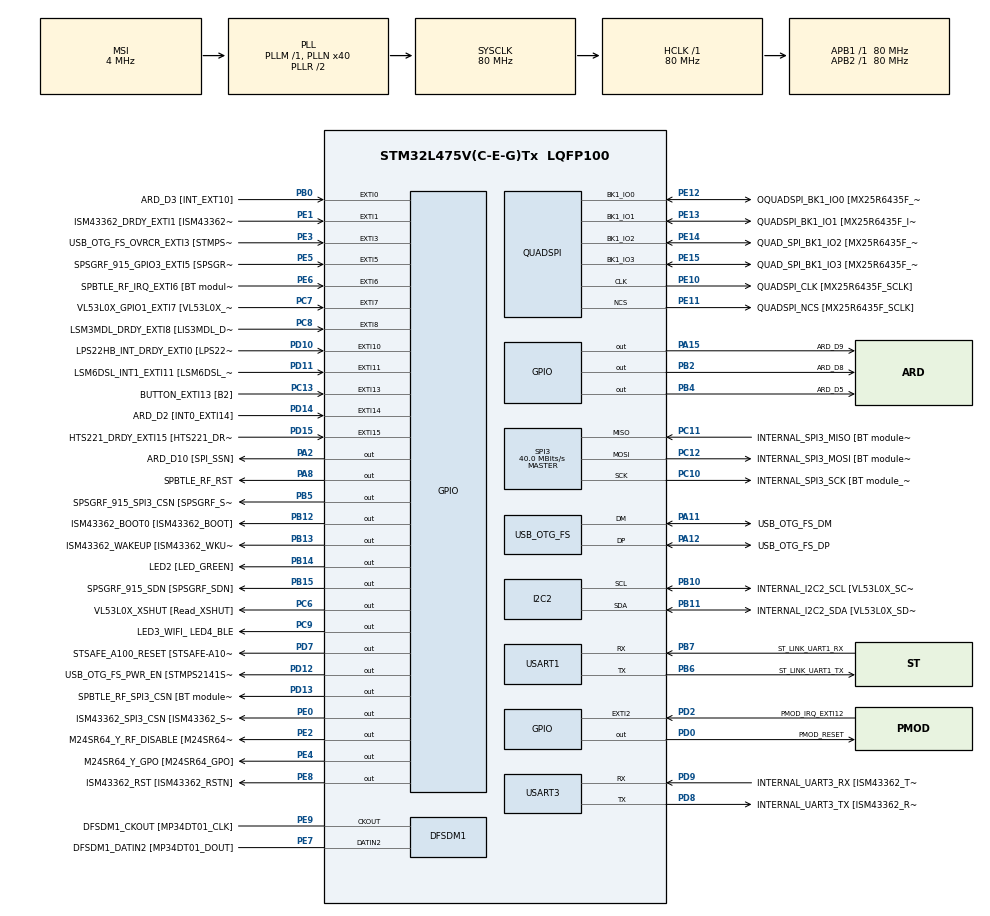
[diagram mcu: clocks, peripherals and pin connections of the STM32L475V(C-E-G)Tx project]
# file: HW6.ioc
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ADC1.Channel-0\#ChannelRegularConversion=ADC_CHANNEL_TEMPSENSOR
ADC1.ClockPrescaler=ADC_CLOCK_SYNC_PCLK_DIV4
ADC1.ExternalTrigConv=ADC_EXTERNALTRIG_T1_TRGO
ADC1.NbrOfConversionFlag=1
ADC1.OffsetNumber-0\#ChannelRegularConversion=ADC_OFFSET_NONE
ADC1.Rank-0\#ChannelRegularConversion=1
ADC1.SamplingTime-0\#ChannelRegularConversion=ADC_SAMPLETIME_2CYCLES_5
ADC1.master=1
FREERTOS.Queues01=tempQueue01,16,uint32_t,0,Static,tempQueue01Buffer,tempQueue01ControlBlock
FREERTOS.Tasks01=informTask,24,128,StartInformTask,Default,NULL,Static,defaultTaskBuffer,defaultTaskControlBlock
Mcu.Family=STM32L4
Mcu.Name=STM32L475V(C-E-G)Tx
Mcu.Package=LQFP100
NVIC.ADC1_2_IRQn=true\:5\:0\:false\:false\:true\:true\:true\:true\:true
NVIC.EXTI15_10_IRQn=true\:5\:0\:false\:false\:true\:true\:true\:true\:true
NVIC.EXTI9_5_IRQn=true\:5\:0\:false\:false\:true\:true\:true\:true\:true
NVIC.PriorityGroup=NVIC_PRIORITYGROUP_4
PA0.GPIO_Label=ARD_D1 [UART4_TX]
PA0.Signal=UART4_TX
PA1.GPIO_Label=ARD_D0 [UART4_RX]
PA1.Signal=UART4_RX
PA10.GPIO_Label=USB_OTG_FS_ID
PA10.Signal=USB_OTG_FS_ID
PA11.GPIO_Label=USB_OTG_FS_DM
PA11.Mode=Device_Only
PA11.Signal=USB_OTG_FS_DM
PA12.GPIO_Label=USB_OTG_FS_DP
PA12.Mode=Device_Only
PA12.Signal=USB_OTG_FS_DP
PA13\ (JTMS-SWDIO).GPIO_Label=SYS_JTMS_SWDIO
PA13\ (JTMS-SWDIO).Mode=Serial_Wire
PA13\ (JTMS-SWDIO).Signal=SYS_JTMS-SWDIO
PA14\ (JTCK-SWCLK).GPIO_Label=SYS_JTCK_SWCLK
PA14\ (JTCK-SWCLK).Mode=Serial_Wire
PA14\ (JTCK-SWCLK).Signal=SYS_JTCK-SWCLK
PA15\ (JTDI).GPIO_Label=ARD_D9
PA15\ (JTDI).Signal=GPIO_Output
PA2.GPIO_Label=ARD_D10 [SPI_SSN]
PA2.Signal=GPIO_Output
PA3.GPIO_Label=ARD_D4
PA3.Signal=S_TIM2_CH4
PA4.GPIO_Label=ARD_D7
PA4.Signal=ADCx_IN9
PA5.GPIO_Label=ARD_D13 [SPI1_SCK]
PA5.Signal=SPI1_SCK
PA6.GPIO_Label=ARD_D12 [SPI1_MISO]
PA6.Signal=SPI1_MISO
PA7.GPIO_Label=ARD_D11 [SPI1_MOSI]
PA7.Signal=SPI1_MOSI
PA8.GPIO_Label=SPBTLE_RF_RST
PA8.Signal=GPIO_Output
PA9.GPIO_Label=USB_OTG_FS_VBUS [STMPS2141STR_OUT]
PA9.Signal=USB_OTG_FS_VBUS
PB0.GPIO_Label=ARD_D3 [INT_EXT10]
PB0.Signal=GPXTI0
PB1.GPIO_Label=ARD_D6 [ADC1_IN6]
PB1.Signal=ADCx_IN16
PB10.GPIO_Label=INTERNAL_I2C2_SCL [VL53L0X_SCL]
PB10.GPIO_Pu=GPIO_PULLUP
PB10.Mode=I2C
PB10.Signal=I2C2_SCL
PB11.GPIO_Label=INTERNAL_I2C2_SDA [VL53L0X_SDA]
PB11.GPIO_Pu=GPIO_PULLUP
PB11.Mode=I2C
PB11.Signal=I2C2_SDA
PB12.GPIO_Label=ISM43362_BOOT0 [ISM43362_BOOT]
PB12.Signal=GPIO_Output
PB13.GPIO_Label=ISM43362_WAKEUP [ISM43362_WKUP]
PB13.Signal=GPIO_Output
PB14.GPIO_Label=LED2 [LED_GREEN]
PB14.Signal=GPIO_Output
PB15.GPIO_Label=SPSGRF_915_SDN [SPSGRF_SDN]
PB15.Signal=GPIO_Output
PB2.GPIO_Label=ARD_D8
PB2.Signal=GPIO_Output
PB3\ (JTDO-TRACESWO).GPIO_Label=SYS_JTD0_SWO
PB3\ (JTDO-TRACESWO).Signal=SYS_JTDO-SWO
PB4\ (NJTRST).GPIO_Label=ARD_D5
PB4\ (NJTRST).Signal=GPIO_Output
PB5.GPIO_Label=SPSGRF_915_SPI3_CSN [SPSGRF_SPI_CS]
PB5.PinState=GPIO_PIN_SET
PB5.Signal=GPIO_Output
PB6.GPIO_Label=ST_LINK_UART1_TX
PB6.Mode=Asynchronous
PB6.Signal=USART1_TX
PB7.GPIO_Label=ST_LINK_UART1_RX
PB7.Mode=Asynchronous
PB7.Signal=USART1_RX
PB8.GPIO_Label=ARD_D15 [I2C1_SCL]
PB8.Signal=I2C1_SCL
PB9.GPIO_Label=ARD_D14 [I2C1_SDA]
PB9.Signal=I2C1_SDA
PC0.GPIO_Label=ARD_A5 [ADC]
PC0.Signal=ADCx_IN1
PC1.GPIO_Label=ARD_A4 [ADC]
PC1.Signal=ADCx_IN2
PC10.GPIO_Label=INTERNAL_SPI3_SCK [BT module_SPI_SCLK] [ISM43362_SCK]
PC10.Mode=Full_Duplex_Master
PC10.Signal=SPI3_SCK
PC11.GPIO_Label=INTERNAL_SPI3_MISO [BT module_SPI_MISO] [ISM43362_MISO]
PC11.Mode=Full_Duplex_Master
PC11.Signal=SPI3_MISO
PC12.GPIO_Label=INTERNAL_SPI3_MOSI [BT module_SPI_MOSI] [ISM43362_MOSI]
PC12.Mode=Full_Duplex_Master
PC12.Signal=SPI3_MOSI
PC13.GPIO_Label=BUTTON_EXTI13 [B2]
PC13.GPIO_ModeDefaultEXTI=GPIO_MODE_IT_FALLING
PC13.Signal=GPXTI13
PC14-OSC32_IN\ (PC14).Mode=LSE-External-Oscillator
PC14-OSC32_IN\ (PC14).Signal=RCC_OSC32_IN
PC15-OSC32_OUT\ (PC15).Mode=LSE-External-Oscillator
PC15-OSC32_OUT\ (PC15).Signal=RCC_OSC32_OUT
PC2.GPIO_Label=ARD_A3 [ADC]
PC2.Signal=ADCx_IN3
PC3.GPIO_Label=ARD_A2 [ADC]
PC3.Signal=ADCx_IN4
PC4.GPIO_Label=ARD_A1 [ADC]
PC4.Signal=ADCx_IN13
PC5.GPIO_Label=ARD_A0 [ADC]
PC5.Signal=ADCx_IN14
PC6.GPIO_Label=VL53L0X_XSHUT [Read_XSHUT]
PC6.Signal=GPIO_Output
PC7.GPIO_Label=VL53L0X_GPIO1_EXTI7 [VL53L0X_GPIO1]
PC7.Signal=GPXTI7
PC8.GPIO_Label=LSM3MDL_DRDY_EXTI8 [LIS3MDL_DRDY]
PC8.Signal=GPXTI8
PC9.GPIO_Label=LED3_WIFI_ LED4_BLE
PC9.Signal=GPIO_Output
PD0.GPIO_Label=PMOD_RESET
PD0.Signal=GPIO_Output
PD1.GPIO_Label=PMOD_SPI2_SCK
PD1.Signal=SPI2_SCK
PD10.GPIO_Label=LPS22HB_INT_DRDY_EXTI0 [LPS22HB_INT_DRDY] 
PD10.Signal=GPXTI10
PD11.GPIO_Label=LSM6DSL_INT1_EXTI11 [LSM6DSL_INT1]
PD11.Signal=GPXTI11
PD12.GPIO_Label=USB_OTG_FS_PWR_EN [STMPS2141STR_EN]
PD12.Signal=GPIO_Output
PD13.GPIO_Label=SPBTLE_RF_SPI3_CSN [BT module_SPI_CS]
PD13.PinState=GPIO_PIN_SET
PD13.Signal=GPIO_Output
PD14.GPIO_Label=ARD_D2 [INT0_EXTI14]
PD14.Signal=GPXTI14
PD15.GPIO_Label=HTS221_DRDY_EXTI15 [HTS221_DRDY]
PD15.Signal=GPXTI15
PD2.GPIO_Label=PMOD_IRQ_EXTI12
PD2.Signal=GPXTI2
PD3.GPIO_Label=PMOD_UART2_CTS
PD3.Signal=USART2_CTS
PD4.GPIO_Label=PMOD_UART2_RTS
PD4.Signal=USART2_RTS
PD5.GPIO_Label=PMOD_UART2_TX
PD5.Signal=USART2_TX
PD6.GPIO_Label=PMOD_UART2_RX
PD6.Signal=USART2_RX
PD7.GPIO_Label=STSAFE_A100_RESET [STSAFE-A100_RESET]
PD7.Signal=GPIO_Output
PD8.GPIO_Label=INTERNAL_UART3_TX [ISM43362_RX]
PD8.Mode=Asynchronous
PD8.Signal=USART3_TX
PD9.GPIO_Label=INTERNAL_UART3_RX [ISM43362_TX]
PD9.Mode=Asynchronous
PD9.Signal=USART3_RX
PE0.GPIO_Label=ISM43362_SPI3_CSN [ISM43362_SSN]
PE0.PinState=GPIO_PIN_SET
PE0.Signal=GPIO_Output
PE1.GPIO_Label=ISM43362_DRDY_EXTI1 [ISM43362_DATARDY]
PE1.Signal=GPXTI1
PE10.GPIO_Label=QUADSPI_CLK [MX25R6435F_SCLK]
PE10.Mode=Single Bank
PE10.Signal=QUADSPI_CLK
PE11.GPIO_Label=QUADSPI_NCS [MX25R6435F_SCLK]
PE11.Mode=Single Bank
PE11.Signal=QUADSPI_NCS
PE12.GPIO_Label=OQUADSPI_BK1_IO0 [MX25R6435F_IO0]
PE12.Mode=Single Bank
PE12.Signal=QUADSPI_BK1_IO0
PE13.GPIO_Label=QUADSPI_BK1_IO1 [MX25R6435F_IO1]
PE13.Mode=Single Bank
PE13.Signal=QUADSPI_BK1_IO1
PE14.GPIO_Label=QUAD_SPI_BK1_IO2 [MX25R6435F_IO2]
PE14.Mode=Single Bank
PE14.Signal=QUADSPI_BK1_IO2
PE15.GPIO_Label=QUAD_SPI_BK1_IO3 [MX25R6435F_IO3]
PE15.Mode=Single Bank
PE15.Signal=QUADSPI_BK1_IO3
PE2.GPIO_Label=M24SR64_Y_RF_DISABLE [M24SR64_RFDIS]
PE2.Signal=GPIO_Output
PE3.GPIO_Label=USB_OTG_FS_OVRCR_EXTI3 [STMPS2141STR_FAULT]
PE3.Signal=GPXTI3
PE4.GPIO_Label=M24SR64_Y_GPO [M24SR64_GPO]
PE4.Signal=GPIO_Output
PE5.GPIO_Label=SPSGRF_915_GPIO3_EXTI5 [SPSGRF_GPIO_3]
PE5.Signal=GPXTI5
PE6.GPIO_Label=SPBTLE_RF_IRQ_EXTI6 [BT module_SPI_IRQ]
PE6.Signal=GPXTI6
PE7.GPIO_Label=DFSDM1_DATIN2 [MP34DT01_DOUT]
PE7.Signal=S_DATAIN2DFSDM1
PE8.GPIO_Label=ISM43362_RST [ISM43362_RSTN]
PE8.Signal=GPIO_Output
PE9.GPIO_Label=DFSDM1_CKOUT [MP34DT01_CLK]
PE9.Signal=S_CKOUTDFSDM1
ProjectManager.HeapSize=0x200
ProjectManager.StackSize=0x400
ProjectManager.TargetToolchain=STM32CubeIDE
QUADSPI.ClockPrescaler=2
QUADSPI.FifoThreshold=4
QUADSPI.FlashSize=23
QUADSPI.SampleShifting=QSPI_SAMPLE_SHIFTING_HALFCYCLE
RCC.ADCFreq_Value=48000000
RCC.AHBFreq_Value=80000000
RCC.APB1Freq_Value=80000000
RCC.APB1TimFreq_Value=80000000
RCC.APB2Freq_Value=80000000
RCC.APB2TimFreq_Value=80000000
RCC.CortexFreq_Value=80000000
RCC.HCLKFreq_Value=80000000
RCC.HSE_VALUE=8000000
RCC.HSI_VALUE=16000000
RCC.MSI_VALUE=4000000
RCC.PLLN=40
RCC.PLLSAI1N=24
RCC.SYSCLKFreq_VALUE=80000000
RCC.SYSCLKSource=RCC_SYSCLKSOURCE_PLLCLK
RCC.USBFreq_Value=48000000
RCC.VCOOutputFreq_Value=160000000
SH.ADCx_IN1.0=ADC1_IN1
SH.ADCx_IN13.0=ADC1_IN13
SH.ADCx_IN14.0=ADC1_IN14
SH.ADCx_IN16.0=ADC1_IN16
SH.ADCx_IN2.0=ADC1_IN2
SH.ADCx_IN3.0=ADC1_IN3
SH.ADCx_IN4.0=ADC1_IN4
SH.ADCx_IN9.0=ADC1_IN9
SH.S_CKOUTDFSDM1.0=DFSDM1_CKOUT,CKOUT
SH.S_CKOUTDFSDM1.1=DFSDM1_CKOUT,PDM_SPI_Input_from_ch12_and_Internal_Clock
SH.S_DATAIN2DFSDM1.0=DFSDM1_DATIN2,PDM_SPI_Input_from_ch12_and_Internal_Clock
SH.S_TIM2_CH4.0=TIM2_CH4
SPI3.CalculateBaudRate=40.0 MBits/s
SPI3.Direction=SPI_DIRECTION_2LINES
SPI3.Mode=SPI_MODE_MASTER
SPI3.VirtualType=VM_MASTER
TIM1.Period=1000-1
TIM1.Prescaler=4000-1
TIM1.TIM_MasterOutputTrigger=TIM_TRGO_UPDATE
USART1.VirtualMode-Asynchronous=VM_ASYNC
USART3.VirtualMode-Asynchronous=VM_ASYNC
USB_OTG_FS.VirtualMode=Device_Only
VP_ADC1_TempSens_Input.Mode=IN-TempSens
VP_FREERTOS_VS_CMSIS_V2.Mode=CMSIS_V2
VP_TIM1_VS_ClockSourceINT.Mode=Internal
board=B-L475E-IOT01A2

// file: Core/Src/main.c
/* USER CODE BEGIN Header */
/**
  ******************************************************************************
  * @file           : main.c
  * @brief          : Main program body
  ******************************************************************************
  * @attention
  *
  * Copyright (c) 2024 STMicroelectronics.
  * All rights reserved.
  *
  * This software is licensed under terms that can be found in the LICENSE file
  * in the root directory of this software component.
  * If no LICENSE file comes with this software, it is provided AS-IS.
  *
  ******************************************************************************
  */
/* USER CODE END Header */
#include "main.h"
#include "cmsis_os.h"

/* USER CODE BEGIN Includes */
#include <stdio.h>
//#include "../../Middlewares/Third_Party/FreeRTOS/Source/CMSIS_RTOS_V2/cmsis_os.h"
//#include "../../Middlewares/Third_Party/FreeRTOS/Source/CMSIS_RTOS_V2/cmsis_os2.h"
/* USER CODE END Includes */

typedef StaticTask_t osStaticThreadDef_t;
typedef StaticQueue_t osStaticMessageQDef_t;

ADC_HandleTypeDef hadc1;

DFSDM_Channel_HandleTypeDef hdfsdm1_channel1;

I2C_HandleTypeDef hi2c2;

QSPI_HandleTypeDef hqspi;

SPI_HandleTypeDef hspi3;

TIM_HandleTypeDef htim1;

UART_HandleTypeDef huart1;
UART_HandleTypeDef huart3;

PCD_HandleTypeDef hpcd_USB_OTG_FS;

/* Definitions for informTask */
osThreadId_t informTaskHandle;
uint32_t defaultTaskBuffer[ 128 ];
osStaticThreadDef_t defaultTaskControlBlock;
const osThreadAttr_t informTask_attributes = {
  .name = "informTask",
  .cb_mem = &defaultTaskControlBlock,
  .cb_size = sizeof(defaultTaskControlBlock),
  .stack_mem = &defaultTaskBuffer[0],
  .stack_size = sizeof(defaultTaskBuffer),
  .priority = (osPriority_t) osPriorityNormal,
};
/* Definitions for tempQueue01 */
osMessageQueueId_t tempQueue01Handle;
uint8_t tempQueue01Buffer[ 16 * sizeof( uint32_t ) ];
osStaticMessageQDef_t tempQueue01ControlBlock;
const osMessageQueueAttr_t tempQueue01_attributes = {
  .name = "tempQueue01",
  .cb_mem = &tempQueue01ControlBlock,
  .cb_size = sizeof(tempQueue01ControlBlock),
  .mq_mem = &tempQueue01Buffer,
  .mq_size = sizeof(tempQueue01Buffer)
};

void SystemClock_Config(void);
void PeriphCommonClock_Config(void);
static void MX_GPIO_Init(void);
static void MX_DFSDM1_Init(void);
static void MX_I2C2_Init(void);
static void MX_QUADSPI_Init(void);
static void MX_SPI3_Init(void);
static void MX_USART1_UART_Init(void);
static void MX_USART3_UART_Init(void);
static void MX_USB_OTG_FS_PCD_Init(void);
static void MX_ADC1_Init(void);
static void MX_TIM1_Init(void);
void StartInformTask(void *argument);

/* USER CODE BEGIN PFP */
//extern osStatus osMessagePut(osMessageQId queue_id, uint32_t info, uint32_t millisec);
//extern osEvent osMessageGet(osMessageQId queue_id, uint32_t millisec);
/* USER CODE END PFP */

/* USER CODE BEGIN 0 */
int __io_putchar(int ch){
	HAL_UART_Transmit(&huart1, (uint8_t*)&ch, 1, 0xFFFF);
	return ch;
}
void HAL_ADC_ConvCpltCallback(ADC_HandleTypeDef *hadc)
{
  uint32_t val = HAL_ADC_GetValue(hadc);
  uint8_t pri = 0;
  osStatus_t res = osMessageQueuePut(tempQueue01Handle, &val, pri, 0);
  if(res!=osOK){
//	  osThreadSuspendAll();
	  printf("Message put failed:( :::: %d\r\n", res);
//	  osThreadResumeAll();
  }
}
/* USER CODE END 0 */

int main(void)
{

  /* MCU Configuration--------------------------------------------------------*/

  /* Reset of all peripherals, Initializes the Flash interface and the Systick. */
  HAL_Init();

  /* Configure the system clock */
  SystemClock_Config();

  /* Configure the peripherals common clocks */
  PeriphCommonClock_Config();

  /* Initialize all configured peripherals */
  MX_GPIO_Init();
  MX_DFSDM1_Init();
  MX_I2C2_Init();
  MX_QUADSPI_Init();
  MX_SPI3_Init();
  MX_USART1_UART_Init();
  MX_USART3_UART_Init();
  MX_USB_OTG_FS_PCD_Init();
  MX_ADC1_Init();
  MX_TIM1_Init();
  /* USER CODE BEGIN 2 */
  HAL_ADC_Start_IT(&hadc1);
  HAL_TIM_Base_Start_IT(&htim1);
  /* USER CODE END 2 */

  /* Init scheduler */
  osKernelInitialize();

  /* Create the queue(s) */
  /* creation of tempQueue01 */
  tempQueue01Handle = osMessageQueueNew (16, sizeof(uint32_t), &tempQueue01_attributes);

  /* Create the thread(s) */
  /* creation of informTask */
  informTaskHandle = osThreadNew(StartInformTask, NULL, &informTask_attributes);

  /* Start scheduler */
  osKernelStart();

  /* We should never get here as control is now taken by the scheduler */

  /* Infinite loop */
  while (1)
  {

    /* USER CODE BEGIN 3 */
//	  printf("hello world!\r\n");
//	  HAL_Delay(1000);
  }
  /* USER CODE END 3 */
}

void SystemClock_Config(void)
{
  RCC_OscInitTypeDef RCC_OscInitStruct = {0};
  RCC_ClkInitTypeDef RCC_ClkInitStruct = {0};

  /** Configure the main internal regulator output voltage
  */
  if (HAL_PWREx_ControlVoltageScaling(PWR_REGULATOR_VOLTAGE_SCALE1) != HAL_OK)
  {
    Error_Handler();
  }

  /** Configure LSE Drive Capability
  */
  HAL_PWR_EnableBkUpAccess();
  __HAL_RCC_LSEDRIVE_CONFIG(RCC_LSEDRIVE_LOW);

  /** Initializes the RCC Oscillators according to the specified parameters
  * in the RCC_OscInitTypeDef structure.
  */
  RCC_OscInitStruct.OscillatorType = RCC_OSCILLATORTYPE_LSE|RCC_OSCILLATORTYPE_MSI;
  RCC_OscInitStruct.LSEState = RCC_LSE_ON;
  RCC_OscInitStruct.MSIState = RCC_MSI_ON;
  RCC_OscInitStruct.MSICalibrationValue = 0;
  RCC_OscInitStruct.MSIClockRange = RCC_MSIRANGE_6;
  RCC_OscInitStruct.PLL.PLLState = RCC_PLL_ON;
  RCC_OscInitStruct.PLL.PLLSource = RCC_PLLSOURCE_MSI;
  RCC_OscInitStruct.PLL.PLLM = 1;
  RCC_OscInitStruct.PLL.PLLN = 40;
  RCC_OscInitStruct.PLL.PLLP = RCC_PLLP_DIV7;
  RCC_OscInitStruct.PLL.PLLQ = RCC_PLLQ_DIV2;
  RCC_OscInitStruct.PLL.PLLR = RCC_PLLR_DIV2;
  if (HAL_RCC_OscConfig(&RCC_OscInitStruct) != HAL_OK)
  {
    Error_Handler();
  }

  /** Initializes the CPU, AHB and APB buses clocks
  */
  RCC_ClkInitStruct.ClockType = RCC_CLOCKTYPE_HCLK|RCC_CLOCKTYPE_SYSCLK
                              |RCC_CLOCKTYPE_PCLK1|RCC_CLOCKTYPE_PCLK2;
  RCC_ClkInitStruct.SYSCLKSource = RCC_SYSCLKSOURCE_PLLCLK;
  RCC_ClkInitStruct.AHBCLKDivider = RCC_SYSCLK_DIV1;
  RCC_ClkInitStruct.APB1CLKDivider = RCC_HCLK_DIV1;
  RCC_ClkInitStruct.APB2CLKDivider = RCC_HCLK_DIV1;

  if (HAL_RCC_ClockConfig(&RCC_ClkInitStruct, FLASH_LATENCY_4) != HAL_OK)
  {
    Error_Handler();
  }

  /** Enable MSI Auto calibration
  */
  HAL_RCCEx_EnableMSIPLLMode();
}

void PeriphCommonClock_Config(void)
{
  RCC_PeriphCLKInitTypeDef PeriphClkInit = {0};

  /** Initializes the peripherals clock
  */
  PeriphClkInit.PeriphClockSelection = RCC_PERIPHCLK_USB;
  PeriphClkInit.UsbClockSelection = RCC_USBCLKSOURCE_PLLSAI1;
  PeriphClkInit.PLLSAI1.PLLSAI1Source = RCC_PLLSOURCE_MSI;
  PeriphClkInit.PLLSAI1.PLLSAI1M = 1;
  PeriphClkInit.PLLSAI1.PLLSAI1N = 24;
  PeriphClkInit.PLLSAI1.PLLSAI1P = RCC_PLLP_DIV7;
  PeriphClkInit.PLLSAI1.PLLSAI1Q = RCC_PLLQ_DIV2;
  PeriphClkInit.PLLSAI1.PLLSAI1R = RCC_PLLR_DIV2;
  PeriphClkInit.PLLSAI1.PLLSAI1ClockOut = RCC_PLLSAI1_48M2CLK;
  if (HAL_RCCEx_PeriphCLKConfig(&PeriphClkInit) != HAL_OK)
  {
    Error_Handler();
  }
}

static void MX_ADC1_Init(void)
{

  ADC_MultiModeTypeDef multimode = {0};
  ADC_ChannelConfTypeDef sConfig = {0};

  /** Common config
  */
  hadc1.Instance = ADC1;
  hadc1.Init.ClockPrescaler = ADC_CLOCK_SYNC_PCLK_DIV4;
  hadc1.Init.Resolution = ADC_RESOLUTION_12B;
  hadc1.Init.DataAlign = ADC_DATAALIGN_RIGHT;
  hadc1.Init.ScanConvMode = ADC_SCAN_DISABLE;
  hadc1.Init.EOCSelection = ADC_EOC_SINGLE_CONV;
  hadc1.Init.LowPowerAutoWait = DISABLE;
  hadc1.Init.ContinuousConvMode = DISABLE;
  hadc1.Init.NbrOfConversion = 1;
  hadc1.Init.DiscontinuousConvMode = DISABLE;
  hadc1.Init.ExternalTrigConv = ADC_EXTERNALTRIG_T1_TRGO;
  hadc1.Init.ExternalTrigConvEdge = ADC_EXTERNALTRIGCONVEDGE_RISING;
  hadc1.Init.DMAContinuousRequests = DISABLE;
  hadc1.Init.Overrun = ADC_OVR_DATA_PRESERVED;
  hadc1.Init.OversamplingMode = DISABLE;
  if (HAL_ADC_Init(&hadc1) != HAL_OK)
  {
    Error_Handler();
  }

  /** Configure the ADC multi-mode
  */
  multimode.Mode = ADC_MODE_INDEPENDENT;
  if (HAL_ADCEx_MultiModeConfigChannel(&hadc1, &multimode) != HAL_OK)
  {
    Error_Handler();
  }

  /** Configure Regular Channel
  */
  sConfig.Channel = ADC_CHANNEL_TEMPSENSOR;
  sConfig.Rank = ADC_REGULAR_RANK_1;
  sConfig.SamplingTime = ADC_SAMPLETIME_2CYCLES_5;
  sConfig.SingleDiff = ADC_SINGLE_ENDED;
  sConfig.OffsetNumber = ADC_OFFSET_NONE;
  sConfig.Offset = 0;
  if (HAL_ADC_ConfigChannel(&hadc1, &sConfig) != HAL_OK)
  {
    Error_Handler();
  }

}

static void MX_DFSDM1_Init(void)
{

  hdfsdm1_channel1.Instance = DFSDM1_Channel1;
  hdfsdm1_channel1.Init.OutputClock.Activation = ENABLE;
  hdfsdm1_channel1.Init.OutputClock.Selection = DFSDM_CHANNEL_OUTPUT_CLOCK_SYSTEM;
  hdfsdm1_channel1.Init.OutputClock.Divider = 2;
  hdfsdm1_channel1.Init.Input.Multiplexer = DFSDM_CHANNEL_EXTERNAL_INPUTS;
  hdfsdm1_channel1.Init.Input.DataPacking = DFSDM_CHANNEL_STANDARD_MODE;
  hdfsdm1_channel1.Init.Input.Pins = DFSDM_CHANNEL_FOLLOWING_CHANNEL_PINS;
  hdfsdm1_channel1.Init.SerialInterface.Type = DFSDM_CHANNEL_SPI_RISING;
  hdfsdm1_channel1.Init.SerialInterface.SpiClock = DFSDM_CHANNEL_SPI_CLOCK_INTERNAL;
  hdfsdm1_channel1.Init.Awd.FilterOrder = DFSDM_CHANNEL_FASTSINC_ORDER;
  hdfsdm1_channel1.Init.Awd.Oversampling = 1;
  hdfsdm1_channel1.Init.Offset = 0;
  hdfsdm1_channel1.Init.RightBitShift = 0x00;
  if (HAL_DFSDM_ChannelInit(&hdfsdm1_channel1) != HAL_OK)
  {
    Error_Handler();
  }

}

static void MX_I2C2_Init(void)
{

  hi2c2.Instance = I2C2;
  hi2c2.Init.Timing = 0x00000E14;
  hi2c2.Init.OwnAddress1 = 0;
  hi2c2.Init.AddressingMode = I2C_ADDRESSINGMODE_7BIT;
  hi2c2.Init.DualAddressMode = I2C_DUALADDRESS_DISABLE;
  hi2c2.Init.OwnAddress2 = 0;
  hi2c2.Init.OwnAddress2Masks = I2C_OA2_NOMASK;
  hi2c2.Init.GeneralCallMode = I2C_GENERALCALL_DISABLE;
  hi2c2.Init.NoStretchMode = I2C_NOSTRETCH_DISABLE;
  if (HAL_I2C_Init(&hi2c2) != HAL_OK)
  {
    Error_Handler();
  }

  /** Configure Analogue filter
  */
  if (HAL_I2CEx_ConfigAnalogFilter(&hi2c2, I2C_ANALOGFILTER_ENABLE) != HAL_OK)
  {
    Error_Handler();
  }

  /** Configure Digital filter
  */
  if (HAL_I2CEx_ConfigDigitalFilter(&hi2c2, 0) != HAL_OK)
  {
    Error_Handler();
  }

}

static void MX_QUADSPI_Init(void)
{

  /* QUADSPI parameter configuration*/
  hqspi.Instance = QUADSPI;
  hqspi.Init.ClockPrescaler = 2;
  hqspi.Init.FifoThreshold = 4;
  hqspi.Init.SampleShifting = QSPI_SAMPLE_SHIFTING_HALFCYCLE;
  hqspi.Init.FlashSize = 23;
  hqspi.Init.ChipSelectHighTime = QSPI_CS_HIGH_TIME_1_CYCLE;
  hqspi.Init.ClockMode = QSPI_CLOCK_MODE_0;
  if (HAL_QSPI_Init(&hqspi) != HAL_OK)
  {
    Error_Handler();
  }

}

static void MX_SPI3_Init(void)
{

  /* SPI3 parameter configuration*/
  hspi3.Instance = SPI3;
  hspi3.Init.Mode = SPI_MODE_MASTER;
  hspi3.Init.Direction = SPI_DIRECTION_2LINES;
  hspi3.Init.DataSize = SPI_DATASIZE_4BIT;
  hspi3.Init.CLKPolarity = SPI_POLARITY_LOW;
  hspi3.Init.CLKPhase = SPI_PHASE_1EDGE;
  hspi3.Init.NSS = SPI_NSS_SOFT;
  hspi3.Init.BaudRatePrescaler = SPI_BAUDRATEPRESCALER_2;
  hspi3.Init.FirstBit = SPI_FIRSTBIT_MSB;
  hspi3.Init.TIMode = SPI_TIMODE_DISABLE;
  hspi3.Init.CRCCalculation = SPI_CRCCALCULATION_DISABLE;
  hspi3.Init.CRCPolynomial = 7;
  hspi3.Init.CRCLength = SPI_CRC_LENGTH_DATASIZE;
  hspi3.Init.NSSPMode = SPI_NSS_PULSE_ENABLE;
  if (HAL_SPI_Init(&hspi3) != HAL_OK)
  {
    Error_Handler();
  }

}

static void MX_TIM1_Init(void)
{

  TIM_ClockConfigTypeDef sClockSourceConfig = {0};
  TIM_MasterConfigTypeDef sMasterConfig = {0};

  htim1.Instance = TIM1;
  htim1.Init.Prescaler = 4000-1;
  htim1.Init.CounterMode = TIM_COUNTERMODE_UP;
  htim1.Init.Period = 1000-1;
  htim1.Init.ClockDivision = TIM_CLOCKDIVISION_DIV1;
  htim1.Init.RepetitionCounter = 0;
  htim1.Init.AutoReloadPreload = TIM_AUTORELOAD_PRELOAD_DISABLE;
  if (HAL_TIM_Base_Init(&htim1) != HAL_OK)
  {
    Error_Handler();
  }
  sClockSourceConfig.ClockSource = TIM_CLOCKSOURCE_INTERNAL;
  if (HAL_TIM_ConfigClockSource(&htim1, &sClockSourceConfig) != HAL_OK)
  {
    Error_Handler();
  }
  sMasterConfig.MasterOutputTrigger = TIM_TRGO_UPDATE;
  sMasterConfig.MasterOutputTrigger2 = TIM_TRGO2_RESET;
  sMasterConfig.MasterSlaveMode = TIM_MASTERSLAVEMODE_DISABLE;
  if (HAL_TIMEx_MasterConfigSynchronization(&htim1, &sMasterConfig) != HAL_OK)
  {
    Error_Handler();
  }

}

static void MX_USART1_UART_Init(void)
{

  huart1.Instance = USART1;
  huart1.Init.BaudRate = 115200;
  huart1.Init.WordLength = UART_WORDLENGTH_8B;
  huart1.Init.StopBits = UART_STOPBITS_1;
  huart1.Init.Parity = UART_PARITY_NONE;
  huart1.Init.Mode = UART_MODE_TX_RX;
  huart1.Init.HwFlowCtl = UART_HWCONTROL_NONE;
  huart1.Init.OverSampling = UART_OVERSAMPLING_16;
  huart1.Init.OneBitSampling = UART_ONE_BIT_SAMPLE_DISABLE;
  huart1.AdvancedInit.AdvFeatureInit = UART_ADVFEATURE_NO_INIT;
  if (HAL_UART_Init(&huart1) != HAL_OK)
  {
    Error_Handler();
  }

}

static void MX_USART3_UART_Init(void)
{

  huart3.Instance = USART3;
  huart3.Init.BaudRate = 115200;
  huart3.Init.WordLength = UART_WORDLENGTH_8B;
  huart3.Init.StopBits = UART_STOPBITS_1;
  huart3.Init.Parity = UART_PARITY_NONE;
  huart3.Init.Mode = UART_MODE_TX_RX;
  huart3.Init.HwFlowCtl = UART_HWCONTROL_NONE;
  huart3.Init.OverSampling = UART_OVERSAMPLING_16;
  huart3.Init.OneBitSampling = UART_ONE_BIT_SAMPLE_DISABLE;
  huart3.AdvancedInit.AdvFeatureInit = UART_ADVFEATURE_NO_INIT;
  if (HAL_UART_Init(&huart3) != HAL_OK)
  {
    Error_Handler();
  }

}

static void MX_USB_OTG_FS_PCD_Init(void)
{

  hpcd_USB_OTG_FS.Instance = USB_OTG_FS;
  hpcd_USB_OTG_FS.Init.dev_endpoints = 6;
  hpcd_USB_OTG_FS.Init.speed = PCD_SPEED_FULL;
  hpcd_USB_OTG_FS.Init.phy_itface = PCD_PHY_EMBEDDED;
  hpcd_USB_OTG_FS.Init.Sof_enable = DISABLE;
  hpcd_USB_OTG_FS.Init.low_power_enable = DISABLE;
  hpcd_USB_OTG_FS.Init.lpm_enable = DISABLE;
  hpcd_USB_OTG_FS.Init.battery_charging_enable = DISABLE;
  hpcd_USB_OTG_FS.Init.use_dedicated_ep1 = DISABLE;
  hpcd_USB_OTG_FS.Init.vbus_sensing_enable = DISABLE;
  if (HAL_PCD_Init(&hpcd_USB_OTG_FS) != HAL_OK)
  {
    Error_Handler();
  }

}

static void MX_GPIO_Init(void)
{
  GPIO_InitTypeDef GPIO_InitStruct = {0};

  /* GPIO Ports Clock Enable */
  __HAL_RCC_GPIOE_CLK_ENABLE();
  __HAL_RCC_GPIOC_CLK_ENABLE();
  __HAL_RCC_GPIOA_CLK_ENABLE();
  __HAL_RCC_GPIOB_CLK_ENABLE();
  __HAL_RCC_GPIOD_CLK_ENABLE();

  /*Configure GPIO pin Output Level */
  HAL_GPIO_WritePin(GPIOE, M24SR64_Y_RF_DISABLE_Pin|M24SR64_Y_GPO_Pin|ISM43362_RST_Pin, GPIO_PIN_RESET);

  /*Configure GPIO pin Output Level */
  HAL_GPIO_WritePin(GPIOA, ARD_D10_Pin|SPBTLE_RF_RST_Pin|ARD_D9_Pin, GPIO_PIN_RESET);

  /*Configure GPIO pin Output Level */
  HAL_GPIO_WritePin(GPIOB, ARD_D8_Pin|ISM43362_BOOT0_Pin|ISM43362_WAKEUP_Pin|LED2_Pin
                          |SPSGRF_915_SDN_Pin|ARD_D5_Pin, GPIO_PIN_RESET);

  /*Configure GPIO pin Output Level */
  HAL_GPIO_WritePin(GPIOD, USB_OTG_FS_PWR_EN_Pin|PMOD_RESET_Pin|STSAFE_A100_RESET_Pin, GPIO_PIN_RESET);

  /*Configure GPIO pin Output Level */
  HAL_GPIO_WritePin(SPBTLE_RF_SPI3_CSN_GPIO_Port, SPBTLE_RF_SPI3_CSN_Pin, GPIO_PIN_SET);

  /*Configure GPIO pin Output Level */
  HAL_GPIO_WritePin(GPIOC, VL53L0X_XSHUT_Pin|LED3_WIFI__LED4_BLE_Pin, GPIO_PIN_RESET);

  /*Configure GPIO pin Output Level */
  HAL_GPIO_WritePin(SPSGRF_915_SPI3_CSN_GPIO_Port, SPSGRF_915_SPI3_CSN_Pin, GPIO_PIN_SET);

  /*Configure GPIO pin Output Level */
  HAL_GPIO_WritePin(ISM43362_SPI3_CSN_GPIO_Port, ISM43362_SPI3_CSN_Pin, GPIO_PIN_SET);

  /*Configure GPIO pins : M24SR64_Y_RF_DISABLE_Pin M24SR64_Y_GPO_Pin ISM43362_RST_Pin ISM43362_SPI3_CSN_Pin */
  GPIO_InitStruct.Pin = M24SR64_Y_RF_DISABLE_Pin|M24SR64_Y_GPO_Pin|ISM43362_RST_Pin|ISM43362_SPI3_CSN_Pin;
  GPIO_InitStruct.Mode = GPIO_MODE_OUTPUT_PP;
  GPIO_InitStruct.Pull = GPIO_NOPULL;
  GPIO_InitStruct.Speed = GPIO_SPEED_FREQ_LOW;
  HAL_GPIO_Init(GPIOE, &GPIO_InitStruct);

  /*Configure GPIO pins : USB_OTG_FS_OVRCR_EXTI3_Pin SPSGRF_915_GPIO3_EXTI5_Pin SPBTLE_RF_IRQ_EXTI6_Pin ISM43362_DRDY_EXTI1_Pin */
  GPIO_InitStruct.Pin = USB_OTG_FS_OVRCR_EXTI3_Pin|SPSGRF_915_GPIO3_EXTI5_Pin|SPBTLE_RF_IRQ_EXTI6_Pin|ISM43362_DRDY_EXTI1_Pin;
  GPIO_InitStruct.Mode = GPIO_MODE_IT_RISING;
  GPIO_InitStruct.Pull = GPIO_NOPULL;
  HAL_GPIO_Init(GPIOE, &GPIO_InitStruct);

  /*Configure GPIO pin : BUTTON_EXTI13_Pin */
  GPIO_InitStruct.Pin = BUTTON_EXTI13_Pin;
  GPIO_InitStruct.Mode = GPIO_MODE_IT_FALLING;
  GPIO_InitStruct.Pull = GPIO_NOPULL;
  HAL_GPIO_Init(BUTTON_EXTI13_GPIO_Port, &GPIO_InitStruct);

  /*Configure GPIO pins : ARD_D1_Pin ARD_D0_Pin */
  GPIO_InitStruct.Pin = ARD_D1_Pin|ARD_D0_Pin;
  GPIO_InitStruct.Mode = GPIO_MODE_AF_PP;
  GPIO_InitStruct.Pull = GPIO_NOPULL;
  GPIO_InitStruct.Speed = GPIO_SPEED_FREQ_VERY_HIGH;
  GPIO_InitStruct.Alternate = GPIO_AF8_UART4;
  HAL_GPIO_Init(GPIOA, &GPIO_InitStruct);

  /*Configure GPIO pins : ARD_D10_Pin SPBTLE_RF_RST_Pin ARD_D9_Pin */
  GPIO_InitStruct.Pin = ARD_D10_Pin|SPBTLE_RF_RST_Pin|ARD_D9_Pin;
  GPIO_InitStruct.Mode = GPIO_MODE_OUTPUT_PP;
  GPIO_InitStruct.Pull = GPIO_NOPULL;
  GPIO_InitStruct.Speed = GPIO_SPEED_FREQ_LOW;
  HAL_GPIO_Init(GPIOA, &GPIO_InitStruct);

  /*Configure GPIO pin : ARD_D4_Pin */
  GPIO_InitStruct.Pin = ARD_D4_Pin;
  GPIO_InitStruct.Mode = GPIO_MODE_AF_PP;
  GPIO_InitStruct.Pull = GPIO_NOPULL;
  GPIO_InitStruct.Speed = GPIO_SPEED_FREQ_LOW;
  GPIO_InitStruct.Alternate = GPIO_AF1_TIM2;
  HAL_GPIO_Init(ARD_D4_GPIO_Port, &GPIO_InitStruct);

  /*Configure GPIO pins : ARD_D13_Pin ARD_D12_Pin ARD_D11_Pin */
  GPIO_InitStruct.Pin = ARD_D13_Pin|ARD_D12_Pin|ARD_D11_Pin;
  GPIO_InitStruct.Mode = GPIO_MODE_AF_PP;
  GPIO_InitStruct.Pull = GPIO_NOPULL;
  GPIO_InitStruct.Speed = GPIO_SPEED_FREQ_VERY_HIGH;
  GPIO_InitStruct.Alternate = GPIO_AF5_SPI1;
  HAL_GPIO_Init(GPIOA, &GPIO_InitStruct);

  /*Configure GPIO pin : ARD_D3_Pin */
  GPIO_InitStruct.Pin = ARD_D3_Pin;
  GPIO_InitStruct.Mode = GPIO_MODE_IT_RISING;
  GPIO_InitStruct.Pull = GPIO_NOPULL;
  HAL_GPIO_Init(ARD_D3_GPIO_Port, &GPIO_InitStruct);

  /*Configure GPIO pins : ARD_D8_Pin ISM43362_BOOT0_Pin ISM43362_WAKEUP_Pin LED2_Pin
                           SPSGRF_915_SDN_Pin ARD_D5_Pin SPSGRF_915_SPI3_CSN_Pin */
  GPIO_InitStruct.Pin = ARD_D8_Pin|ISM43362_BOOT0_Pin|ISM43362_WAKEUP_Pin|LED2_Pin
                          |SPSGRF_915_SDN_Pin|ARD_D5_Pin|SPSGRF_915_SPI3_CSN_Pin;
  GPIO_InitStruct.Mode = GPIO_MODE_OUTPUT_PP;
  GPIO_InitStruct.Pull = GPIO_NOPULL;
  GPIO_InitStruct.Speed = GPIO_SPEED_FREQ_LOW;
  HAL_GPIO_Init(GPIOB, &GPIO_InitStruct);

  /*Configure GPIO pins : LPS22HB_INT_DRDY_EXTI0_Pin LSM6DSL_INT1_EXTI11_Pin ARD_D2_Pin HTS221_DRDY_EXTI15_Pin
                           PMOD_IRQ_EXTI12_Pin */
  GPIO_InitStruct.Pin = LPS22HB_INT_DRDY_EXTI0_Pin|LSM6DSL_INT1_EXTI11_Pin|ARD_D2_Pin|HTS221_DRDY_EXTI15_Pin
                          |PMOD_IRQ_EXTI12_Pin;
  GPIO_InitStruct.Mode = GPIO_MODE_IT_RISING;
  GPIO_InitStruct.Pull = GPIO_NOPULL;
  HAL_GPIO_Init(GPIOD, &GPIO_InitStruct);

  /*Configure GPIO pins : USB_OTG_FS_PWR_EN_Pin SPBTLE_RF_SPI3_CSN_Pin PMOD_RESET_Pin STSAFE_A100_RESET_Pin */
  GPIO_InitStruct.Pin = USB_OTG_FS_PWR_EN_Pin|SPBTLE_RF_SPI3_CSN_Pin|PMOD_RESET_Pin|STSAFE_A100_RESET_Pin;
  GPIO_InitStruct.Mode = GPIO_MODE_OUTPUT_PP;
  GPIO_InitStruct.Pull = GPIO_NOPULL;
  GPIO_InitStruct.Speed = GPIO_SPEED_FREQ_LOW;
  HAL_GPIO_Init(GPIOD, &GPIO_InitStruct);

  /*Configure GPIO pins : VL53L0X_XSHUT_Pin LED3_WIFI__LED4_BLE_Pin */
  GPIO_InitStruct.Pin = VL53L0X_XSHUT_Pin|LED3_WIFI__LED4_BLE_Pin;
  GPIO_InitStruct.Mode = GPIO_MODE_OUTPUT_PP;
  GPIO_InitStruct.Pull = GPIO_NOPULL;
  GPIO_InitStruct.Speed = GPIO_SPEED_FREQ_LOW;
  HAL_GPIO_Init(GPIOC, &GPIO_InitStruct);

  /*Configure GPIO pins : VL53L0X_GPIO1_EXTI7_Pin LSM3MDL_DRDY_EXTI8_Pin */
  GPIO_InitStruct.Pin = VL53L0X_GPIO1_EXTI7_Pin|LSM3MDL_DRDY_EXTI8_Pin;
  GPIO_InitStruct.Mode = GPIO_MODE_IT_RISING;
  GPIO_InitStruct.Pull = GPIO_NOPULL;
  HAL_GPIO_Init(GPIOC, &GPIO_InitStruct);

  /*Configure GPIO pin : PMOD_SPI2_SCK_Pin */
  GPIO_InitStruct.Pin = PMOD_SPI2_SCK_Pin;
  GPIO_InitStruct.Mode = GPIO_MODE_AF_PP;
  GPIO_InitStruct.Pull = GPIO_NOPULL;
  GPIO_InitStruct.Speed = GPIO_SPEED_FREQ_VERY_HIGH;
  GPIO_InitStruct.Alternate = GPIO_AF5_SPI2;
  HAL_GPIO_Init(PMOD_SPI2_SCK_GPIO_Port, &GPIO_InitStruct);

  /*Configure GPIO pins : PMOD_UART2_CTS_Pin PMOD_UART2_RTS_Pin PMOD_UART2_TX_Pin PMOD_UART2_RX_Pin */
  GPIO_InitStruct.Pin = PMOD_UART2_CTS_Pin|PMOD_UART2_RTS_Pin|PMOD_UART2_TX_Pin|PMOD_UART2_RX_Pin;
  GPIO_InitStruct.Mode = GPIO_MODE_AF_PP;
  GPIO_InitStruct.Pull = GPIO_NOPULL;
  GPIO_InitStruct.Speed = GPIO_SPEED_FREQ_VERY_HIGH;
  GPIO_InitStruct.Alternate = GPIO_AF7_USART2;
  HAL_GPIO_Init(GPIOD, &GPIO_InitStruct);

  /*Configure GPIO pins : ARD_D15_Pin ARD_D14_Pin */
  GPIO_InitStruct.Pin = ARD_D15_Pin|ARD_D14_Pin;
  GPIO_InitStruct.Mode = GPIO_MODE_AF_OD;
  GPIO_InitStruct.Pull = GPIO_NOPULL;
  GPIO_InitStruct.Speed = GPIO_SPEED_FREQ_VERY_HIGH;
  GPIO_InitStruct.Alternate = GPIO_AF4_I2C1;
  HAL_GPIO_Init(GPIOB, &GPIO_InitStruct);

  /* EXTI interrupt init*/
  HAL_NVIC_SetPriority(EXTI9_5_IRQn, 5, 0);
  HAL_NVIC_EnableIRQ(EXTI9_5_IRQn);

  HAL_NVIC_SetPriority(EXTI15_10_IRQn, 5, 0);
  HAL_NVIC_EnableIRQ(EXTI15_10_IRQn);

}

void StartInformTask(void *argument)
{
  /* USER CODE BEGIN 5 */
	uint32_t data;
	uint8_t pri=0;
  /* Infinite loop */
  for(;;)
  {
	  if(osMessageQueueGet(tempQueue01Handle, &data, &pri, osWaitForever)==osOK){
//		  osThreadSuspend();
		  printf("%d\r\n", (int)data);
//		  osThreadResume();

	  }
    osDelay(1);
  }
  /* USER CODE END 5 */
}

void Error_Handler(void)
{
  __disable_irq();
  while (1)
  {
  }
}
